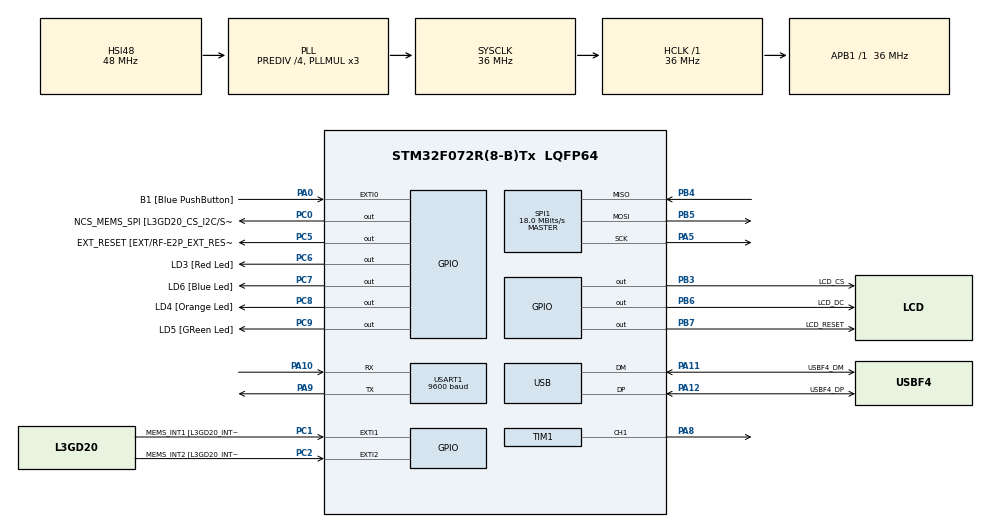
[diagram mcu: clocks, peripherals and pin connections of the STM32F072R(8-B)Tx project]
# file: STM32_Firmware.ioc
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Mcu.Family=STM32F0
Mcu.Name=STM32F072R(8-B)Tx
Mcu.Package=LQFP64
NVIC.USART1_IRQn=true\:0\:0\:false\:false\:true
NVIC.USB_IRQn=true\:0\:0\:false\:false\:true
PA0.GPIO_Label=B1 [Blue PushButton]
PA0.GPIO_ModeDefaultEXTI=GPIO_MODE_EVT_RISING
PA0.Signal=GPXTI0
PA10.Mode=Asynchronous
PA10.Signal=USART1_RX
PA11.GPIO_Label=USBF4_DM
PA11.Mode=Device
PA11.Signal=USB_DM
PA12.GPIO_Label=USBF4_DP
PA12.Mode=Device
PA12.Signal=USB_DP
PA13.GPIO_Label=SWDIO
PA13.Mode=Serial_Wire
PA13.Signal=SYS_SWDIO
PA14.GPIO_Label=SWCLK
PA14.Mode=Serial_Wire
PA14.Signal=SYS_SWCLK
PA5.Mode=Full_Duplex_Master
PA5.Signal=SPI1_SCK
PA8.Signal=S_TIM1_CH1
PA9.Mode=Asynchronous
PA9.Signal=USART1_TX
PB3.GPIO_Label=LCD_CS
PB3.Signal=GPIO_Output
PB4.Mode=Full_Duplex_Master
PB4.Signal=SPI1_MISO
PB5.Mode=Full_Duplex_Master
PB5.Signal=SPI1_MOSI
PB6.GPIO_Label=LCD_DC
PB6.Signal=GPIO_Output
PB7.GPIO_Label=LCD_RESET
PB7.Signal=GPIO_Output
PC0.GPIO_Label=NCS_MEMS_SPI [L3GD20_CS_I2C/SPI]
PC0.Signal=GPIO_Output
PC1.GPIO_Label=MEMS_INT1 [L3GD20_INT1]
PC1.GPIO_ModeDefaultEXTI=GPIO_MODE_EVT_RISING
PC1.Signal=GPXTI1
PC2.GPIO_Label=MEMS_INT2 [L3GD20_INT2]
PC2.GPIO_ModeDefaultEXTI=GPIO_MODE_EVT_RISING
PC2.Signal=GPXTI2
PC5.GPIO_Label=EXT_RESET [EXT/RF-E2P_EXT_RESET]
PC5.Signal=GPIO_Output
PC6.GPIO_Label=LD3 [Red Led]
PC6.Signal=GPIO_Output
PC7.GPIO_Label=LD6 [Blue Led]
PC7.Signal=GPIO_Output
PC8.GPIO_Label=LD4 [Orange Led]
PC8.Signal=GPIO_Output
PC9.GPIO_Label=LD5 [GReen Led]
PC9.Signal=GPIO_Output
ProjectManager.HeapSize=0x200
ProjectManager.StackSize=0x400
ProjectManager.TargetToolchain=TrueSTUDIO
RCC.AHBFreq_Value=36000000
RCC.APB1Freq_Value=36000000
RCC.APB1TimFreq_Value=36000000
RCC.HCLKFreq_Value=36000000
RCC.HSIState=RCC_HSI_ON
RCC.PLLDivider=RCC_PREDIV_DIV4
RCC.PLLMUL=RCC_PLL_MUL3
RCC.PLLSourceVirtual=RCC_PLLSOURCE_HSI48
RCC.SYSCLKFreq_VALUE=36000000
RCC.SYSCLKSource=RCC_SYSCLKSOURCE_PLLCLK
SH.S_TIM1_CH1.0=TIM1_CH1,Output Compare1 CH1
SPI1.CalculateBaudRate=18.0 MBits/s
SPI1.DataSize=SPI_DATASIZE_8BIT
SPI1.Mode=SPI_MODE_MASTER
TIM1.Period=20000
TIM1.Prescaler=35
USART1.BaudRate=9600
USART1.WordLength=UART_WORDLENGTH_8B
USB_DEVICE.USBD_HandleTypeDef=hUsbDeviceFS
USB_DEVICE.VirtualMode=Hid
USB_DEVICE.VirtualModeFS=Hid_FS
VP_TIM1_VS_ClockSourceINT.Mode=Internal
VP_USB_DEVICE_VS_USB_DEVICE_HID_FS.Mode=HID_FS
board=STM32F072B-DISCO

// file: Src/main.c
/**
  ******************************************************************************
  * File Name          : main.c
  * Description        : Main program body
  ******************************************************************************
  *
  * Copyright (c) 2018 STMicroelectronics International N.V.
  * All rights reserved.
  *
  * Redistribution and use in source and binary forms, with or without
  * modification, are permitted, provided that the following conditions are met:
  *
  * 1. Redistribution of source code must retain the above copyright notice,
  *    this list of conditions and the following disclaimer.
  * 2. Redistributions in binary form must reproduce the above copyright notice,
  *    this list of conditions and the following disclaimer in the documentation
  *    and/or other materials provided with the distribution.
  * 3. Neither the name of STMicroelectronics nor the names of other
  *    contributors to this software may be used to endorse or promote products
  *    derived from this software without specific written permission.
  * 4. This software, including modifications and/or derivative works of this
  *    software, must execute solely and exclusively on microcontroller or
  *    microprocessor devices manufactured by or for STMicroelectronics.
  * 5. Redistribution and use of this software other than as permitted under
  *    this license is void and will automatically terminate your rights under
  *    this license.
  *
  * THIS SOFTWARE IS PROVIDED BY STMICROELECTRONICS AND CONTRIBUTORS "AS IS"
  * AND ANY EXPRESS, IMPLIED OR STATUTORY WARRANTIES, INCLUDING, BUT NOT
  * LIMITED TO, THE IMPLIED WARRANTIES OF MERCHANTABILITY, FITNESS FOR A
  * PARTICULAR PURPOSE AND NON-INFRINGEMENT OF THIRD PARTY INTELLECTUAL PROPERTY
  * RIGHTS ARE DISCLAIMED TO THE FULLEST EXTENT PERMITTED BY LAW. IN NO EVENT
  * SHALL STMICROELECTRONICS OR CONTRIBUTORS BE LIABLE FOR ANY DIRECT, INDIRECT,
  * INCIDENTAL, SPECIAL, EXEMPLARY, OR CONSEQUENTIAL DAMAGES (INCLUDING, BUT NOT
  * LIMITED TO, PROCUREMENT OF SUBSTITUTE GOODS OR SERVICES; LOSS OF USE, DATA,
  * OR PROFITS; OR BUSINESS INTERRUPTION) HOWEVER CAUSED AND ON ANY THEORY OF
  * LIABILITY, WHETHER IN CONTRACT, STRICT LIABILITY, OR TORT (INCLUDING
  * NEGLIGENCE OR OTHERWISE) ARISING IN ANY WAY OUT OF THE USE OF THIS SOFTWARE,
  * EVEN IF ADVISED OF THE POSSIBILITY OF SUCH DAMAGE.
  *
  ******************************************************************************
  */
#include "main.h"
#include "stm32f0xx_hal.h"
#include "spi.h"
#include "tim.h"
#include "usart.h"
#include "usb_device.h"
#include "gpio.h"

/* USER CODE BEGIN Includes */
#include "display.h"
#include "ILI9340.h"
#include "types.h"
#include "timer.h"
/* USER CODE END Includes */

/* USER CODE BEGIN PV */
/* Private variables ---------------------------------------------------------*/
BoxStatus_t status;
BoxSettings_t settings;
BoxVersion_t version;
GPSData_t gps;
Timers_t timers;
/* USER CODE END PV */

void SystemClock_Config(void);
void Error_Handler(void);

/* USER CODE BEGIN PFP */
/* Private function prototypes -----------------------------------------------*/

/* USER CODE END PFP */

/* USER CODE BEGIN 0 */

/**
 * Update the box state machine
 */
void SetState(uint8_t state)
{
	if (state == status.state)
		return;

	status.state = state;
	timers.stateTimer = 0;
}
/* USER CODE END 0 */

int main(void)
{

  /* MCU Configuration----------------------------------------------------------*/

  /* Reset of all peripherals, Initializes the Flash interface and the Systick. */
  HAL_Init();

  /* Configure the system clock */
  SystemClock_Config();

  /* Initialize all configured peripherals */
  MX_GPIO_Init();
  MX_SPI1_Init();
  MX_USART1_UART_Init();
  MX_USB_DEVICE_Init();
  MX_TIM1_Init();

  /* USER CODE BEGIN 2 */
	SetState(STATE_POWERON);
	ILI9340_Reset_Low();
	PauseMs(50);
	LCD_Initialize();

	ILI9340_FillScreen(RED);
	ILI9340_FillScreen(GREEN);
	ILI9340_FillScreen(BLUE);

  /* USER CODE END 2 */

  /* Infinite loop */
  while (1)
  {

  /* USER CODE BEGIN 3 */

		/* All events are handled asynchronously.
		 * All we have to here is update the display
		 */

		/*
		 * Check for new GPS reading
		 * 1. Turn off UART Rx interrupt
		 * 2. Copy GPS data (if there is a new reading)
		 * 3. Turn UART Rx interrupts back on
		 */

		  HAL_GPIO_TogglePin(LD5_GPIO_Port, LD5_Pin);

		__HAL_UART_DISABLE_IT(&huart1, UART_IT_RXNE);

		if (GPS_CopyData(&gps))
		{
			status.gpsStatus = gps.pfi;
			status.gpsConnection = 1;
		}

		__HAL_UART_ENABLE_IT(&huart1, UART_IT_RXNE);

		// Update main state machine
		switch (status.state)
		{
		// Progress between GPS acquisition states
		case STATE_POWERON:
			if (timers.stateTimer > 3)
			{
				SetState(STATE_GPS_ACQUIRING);
			}
			break;
		case STATE_GPS_ACQUIRING:
		case STATE_GPS_LOCKING:
			// GPS is connected
			if (status.gpsConnection)
			{
				// No lock for 5 minutes
				if (timers.gpsNoLock > TIMEOUT_NO_GPS_LOCK)
				{
					SetState(STATE_GPS_NO_LOCK);
				}
				else
				{
					switch (status.gpsStatus)
					{
					case 0: // No lock yet
						SetState(STATE_GPS_ACQUIRING);
						break;
					case 1:
						SetState(STATE_GPS_LOCKING);
						break;
					case 2:
					case 3:
						SetState(STATE_GPS_LOCKED);
						break;
					default:
						SetState(STATE_GPS_ERROR);
						break;
					}
				}
			}

			if (timers.gpsNoRx > TIMEOUT_NO_GPS_DATA)
			{
				SetState(STATE_GPS_NO_DATA);
			}
			break;
		case STATE_GPS_LOCKED:
			if (timers.stateTimer > 1) // Two seconds
			{
				//TODO - Check distance to current waypoint here
				SetState(STATE_TOO_FAR);
			}
			break;
		}

		LCD_Update();

		PauseMs(50);
  }
  /* USER CODE END 3 */

}

/** System Clock Configuration
*/
void SystemClock_Config(void)
{

  RCC_OscInitTypeDef RCC_OscInitStruct;
  RCC_ClkInitTypeDef RCC_ClkInitStruct;
  RCC_PeriphCLKInitTypeDef PeriphClkInit;

    /**Initializes the CPU, AHB and APB busses clocks
    */
  RCC_OscInitStruct.OscillatorType = RCC_OSCILLATORTYPE_HSI48;
  RCC_OscInitStruct.HSIState = RCC_HSI_ON;
  RCC_OscInitStruct.HSI48State = RCC_HSI48_ON;
  RCC_OscInitStruct.PLL.PLLState = RCC_PLL_ON;
  RCC_OscInitStruct.PLL.PLLSource = RCC_PLLSOURCE_HSI48;
  RCC_OscInitStruct.PLL.PLLMUL = RCC_PLL_MUL3;
  RCC_OscInitStruct.PLL.PREDIV = RCC_PREDIV_DIV4;
  if (HAL_RCC_OscConfig(&RCC_OscInitStruct) != HAL_OK)
  {
    Error_Handler();
  }

    /**Initializes the CPU, AHB and APB busses clocks
    */
  RCC_ClkInitStruct.ClockType = RCC_CLOCKTYPE_HCLK|RCC_CLOCKTYPE_SYSCLK
                              |RCC_CLOCKTYPE_PCLK1;
  RCC_ClkInitStruct.SYSCLKSource = RCC_SYSCLKSOURCE_PLLCLK;
  RCC_ClkInitStruct.AHBCLKDivider = RCC_SYSCLK_DIV1;
  RCC_ClkInitStruct.APB1CLKDivider = RCC_HCLK_DIV1;

  if (HAL_RCC_ClockConfig(&RCC_ClkInitStruct, FLASH_LATENCY_1) != HAL_OK)
  {
    Error_Handler();
  }

  PeriphClkInit.PeriphClockSelection = RCC_PERIPHCLK_USB|RCC_PERIPHCLK_USART1;
  PeriphClkInit.Usart1ClockSelection = RCC_USART1CLKSOURCE_PCLK1;
  PeriphClkInit.UsbClockSelection = RCC_USBCLKSOURCE_HSI48;

  if (HAL_RCCEx_PeriphCLKConfig(&PeriphClkInit) != HAL_OK)
  {
    Error_Handler();
  }

    /**Configure the Systick interrupt time
    */
  HAL_SYSTICK_Config(HAL_RCC_GetHCLKFreq()/1000);

    /**Configure the Systick
    */
  HAL_SYSTICK_CLKSourceConfig(SYSTICK_CLKSOURCE_HCLK);

  /* SysTick_IRQn interrupt configuration */
  HAL_NVIC_SetPriority(SysTick_IRQn, 0, 0);
}

void Error_Handler(void)
{
  while(1)
  {
  }
}

/************************ (C) COPYRIGHT STMicroelectronics *****END OF FILE****/
